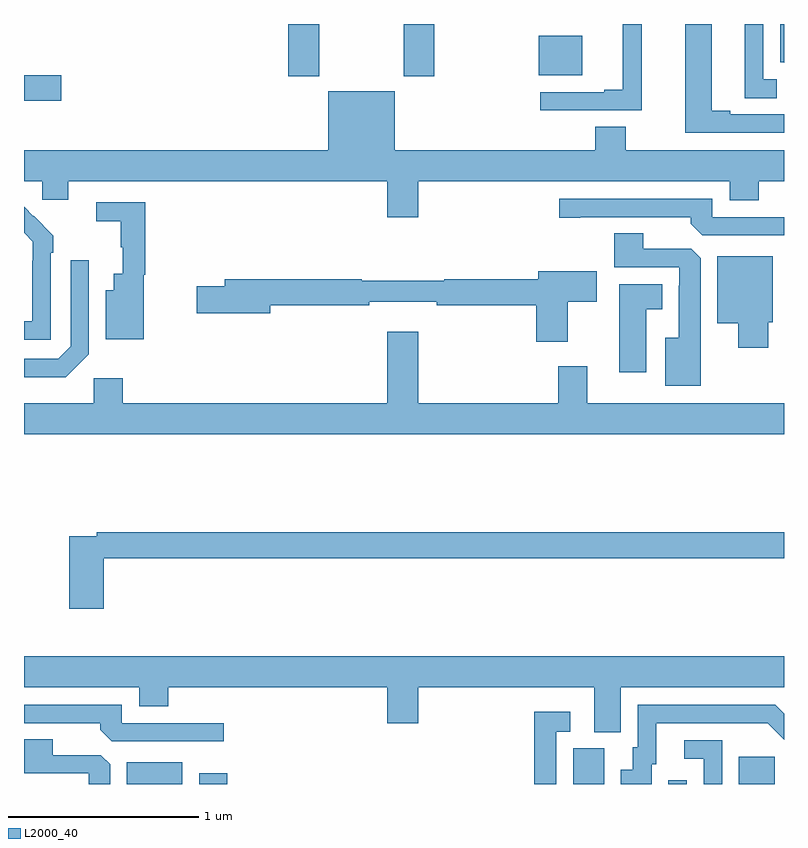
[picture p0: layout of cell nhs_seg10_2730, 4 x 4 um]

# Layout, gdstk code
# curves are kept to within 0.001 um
import gdstk
lib = gdstk.Library(unit=1e-6, precision=1e-09)
def R(c, l, rs):  # rectangles x0, y0, x1, y1
    for r in rs: c.add(gdstk.rectangle(r[:2], r[2:], *l))
def P(c, l, *ps):  # polygons
    for p in ps: c.add(gdstk.Polygon(p, *l))
L2000_40 = (2000, 40)

nhs_seg10_2730 = lib.new_cell('nhs_seg10_2730')
R(nhs_seg10_2730, L2000_40, [(259.541,1274.5,259.834,1274.614), (259.922,1274.5,260.069,1274.557), (261.89,1274.5,262.054,1274.688), (262.392,1274.5,262.488,1274.521), (262.763,1274.5,262.951,1274.644), (259,1278.095,259.195,1278.23), (260.392,1278.225,260.553,1278.5), (260.998,1278.225,261.158,1278.5), (261.71,1278.23,261.937,1278.439)])
P(nhs_seg10_2730, L2000_40, [(263,1278.5),(262.98,1278.5),(262.98,1278.3),(262.995,1278.3),(263,1278.295)],
  [(262.251,1278.5),(262.151,1278.5),(262.151,1278.154),(262.055,1278.154),(262.055,1278.141),(261.717,1278.141),(261.717,1278.045),(262.251,1278.045)],
  [(262.963,1278.21),(262.89,1278.21),(262.89,1278.5),(262.793,1278.5),(262.793,1278.109),(262.963,1278.109)],
  [(263,1278.024),(262.717,1278.024),(262.717,1278.044),(262.621,1278.044),(262.621,1278.5),(262.481,1278.5),(262.481,1277.928),(263,1277.928)],
  [(261.076,1277.672),(262.715,1277.672),(262.715,1277.573),(262.868,1277.573),(262.868,1277.672),(263,1277.672),(263,1277.836),(262.167,1277.836),(262.167,1277.96),(262.007,1277.96),(262.007,1277.836),(260.95,1277.836),(260.95,1278.145),(260.6,1278.145),(260.6,1277.836),(259,1277.836),(259,1277.672),(259.095,1277.672),(259.095,1277.574),(259.234,1277.574),(259.234,1277.672),(260.912,1277.672),(260.912,1277.484),(261.076,1277.484)],
  [(263,1277.484),(262.623,1277.484),(262.623,1277.58),(261.816,1277.58),(261.816,1277.479),(261.928,1277.479),(261.928,1277.484),(262.508,1277.484),(262.508,1277.45),(262.569,1277.388),(263,1277.388)],
  [(259.63,1277.181),(259.637,1277.181),(259.637,1277.562),(259.38,1277.562),(259.38,1277.461),(259.509,1277.461),(259.509,1277.325),(259.52,1277.325),(259.52,1277.185),(259.472,1277.185),(259.472,1277.098),(259.43,1277.098),(259.43,1276.841),(259.63,1276.841)],
  [(259.14,1277.297),(259.155,1277.297),(259.155,1277.385),(259,1277.538),(259,1277.402),(259.047,1277.355),(259.047,1277.255),(259.044,1277.255),(259.044,1276.935),(259,1276.935),(259,1276.839),(259.14,1276.839)],
  [(262.561,1277.267),(262.512,1277.316),(262.258,1277.316),(262.258,1277.399),(262.106,1277.399),(262.106,1277.22),(262.449,1277.22),(262.449,1277.123),(262.445,1277.123),(262.445,1276.849),(262.376,1276.849),(262.376,1276.595),(262.561,1276.595)],
  [(262.918,1276.929),(262.942,1276.929),(262.942,1277.278),(262.649,1277.278),(262.649,1276.925),(262.76,1276.925),(262.76,1276.797),(262.918,1276.797)],
  [(259.341,1276.761),(259.341,1277.257),(259.245,1277.257),(259.245,1276.803),(259.179,1276.737),(259,1276.737),(259,1276.64),(259.22,1276.64)],
  [(261.862,1277.038),(262.015,1277.038),(262.015,1277.2),(261.707,1277.2),(261.707,1277.156),(261.211,1277.156),(261.211,1277.149),(260.778,1277.149),(260.778,1277.156),(260.057,1277.156),(260.057,1277.12),(259.908,1277.12),(259.908,1276.978),(260.296,1276.978),(260.296,1277.02),(260.816,1277.02),(260.816,1277.039),(261.172,1277.039),(261.172,1277.02),(261.695,1277.02),(261.695,1276.827),(261.862,1276.827)],
  [(262.276,1277),(262.36,1277),(262.36,1277.131),(262.133,1277.131),(262.133,1276.668),(262.276,1276.668)],
  [(263,1276.504),(261.964,1276.504),(261.964,1276.699),(261.812,1276.699),(261.812,1276.504),(261.076,1276.504),(261.076,1276.879),(260.912,1276.879),(260.912,1276.504),(259.52,1276.504),(259.52,1276.636),(259.368,1276.636),(259.368,1276.504),(259,1276.504),(259,1276.34),(263,1276.34)],
  [(259.421,1275.688),(263,1275.688),(263,1275.824),(259.384,1275.824),(259.384,1275.804),(259.238,1275.804),(259.238,1275.423),(259.421,1275.423)],
  [(262.141,1275.008),(263,1275.008),(263,1275.172),(259,1275.172),(259,1275.008),(259.607,1275.008),(259.607,1274.909),(259.76,1274.909),(259.76,1275.008),(260.912,1275.008),(260.912,1274.82),(261.076,1274.82),(261.076,1275.008),(262.001,1275.008),(262.001,1274.773),(262.141,1274.773)],
  [(260.05,1274.82),(259.515,1274.82),(259.515,1274.916),(259,1274.916),(259,1274.82),(259.4,1274.82),(259.4,1274.786),(259.461,1274.724),(260.05,1274.724)],
  [(262.303,1274.604),(262.327,1274.604),(262.327,1274.82),(262.915,1274.82),(263,1274.734),(263,1274.87),(262.954,1274.916),(262.23,1274.916),(262.23,1274.694),(262.205,1274.694),(262.205,1274.575),(262.142,1274.575),(262.142,1274.5),(262.303,1274.5)],
  [(261.801,1274.775),(261.874,1274.775),(261.874,1274.881),(261.685,1274.881),(261.685,1274.5),(261.801,1274.5)],
  [(259.453,1274.603),(259.404,1274.652),(259.15,1274.652),(259.15,1274.735),(259,1274.735),(259,1274.556),(259.341,1274.556),(259.341,1274.5),(259.453,1274.5)],
  [(262.674,1274.73),(262.476,1274.73),(262.476,1274.634),(262.578,1274.634),(262.578,1274.5),(262.674,1274.5)])

lib.write_gds('nhs_seg10_2730.gds')
